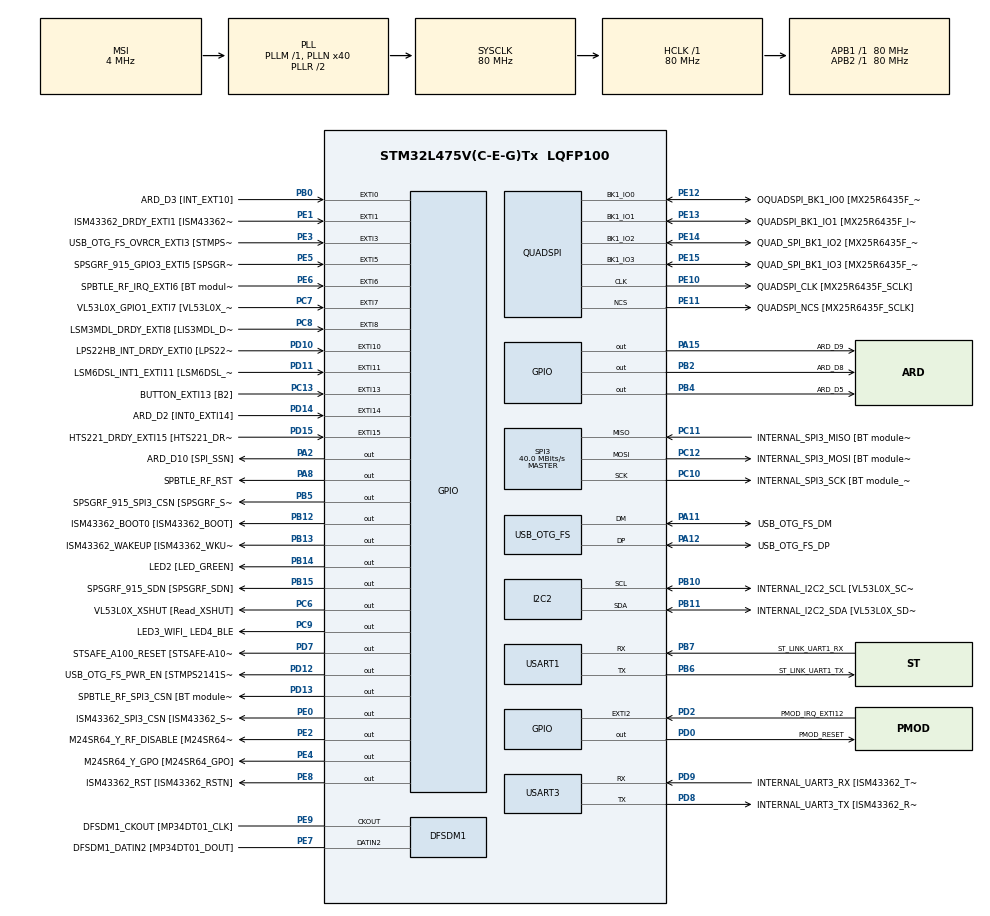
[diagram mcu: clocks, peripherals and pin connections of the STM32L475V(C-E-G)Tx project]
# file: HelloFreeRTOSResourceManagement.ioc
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FREERTOS.Mutexes01=myMutex01,Dynamic,NULL
FREERTOS.Tasks01=defaultTask,0,128,StartDefaultTask,Default,NULL,Dynamic,NULL,NULL;myTask02,-3,128,StartTask02,Default,NULL,Dynamic,NULL,NULL
Mcu.Family=STM32L4
Mcu.Name=STM32L475V(C-E-G)Tx
Mcu.Package=LQFP100
NVIC.EXTI15_10_IRQn=true\:5\:0\:false\:false\:true\:true\:true\:true
NVIC.EXTI9_5_IRQn=true\:5\:0\:false\:false\:true\:true\:true\:true
NVIC.PriorityGroup=NVIC_PRIORITYGROUP_4
NVIC.TIM1_UP_TIM16_IRQn=true\:15\:0\:false\:false\:true\:false\:false\:true
NVIC.TimeBase=TIM1_UP_TIM16_IRQn
NVIC.TimeBaseIP=TIM1
PA0.GPIO_Label=ARD_D1 [UART4_TX]
PA0.Signal=UART4_TX
PA1.GPIO_Label=ARD_D0 [UART4_RX]
PA1.Signal=UART4_RX
PA10.GPIO_Label=USB_OTG_FS_ID
PA10.Signal=USB_OTG_FS_ID
PA11.GPIO_Label=USB_OTG_FS_DM
PA11.Mode=Device_Only
PA11.Signal=USB_OTG_FS_DM
PA12.GPIO_Label=USB_OTG_FS_DP
PA12.Mode=Device_Only
PA12.Signal=USB_OTG_FS_DP
PA13\ (JTMS-SWDIO).GPIO_Label=SYS_JTMS_SWDIO
PA13\ (JTMS-SWDIO).Mode=Serial_Wire
PA13\ (JTMS-SWDIO).Signal=SYS_JTMS-SWDIO
PA14\ (JTCK-SWCLK).GPIO_Label=SYS_JTCK_SWCLK
PA14\ (JTCK-SWCLK).Mode=Serial_Wire
PA14\ (JTCK-SWCLK).Signal=SYS_JTCK-SWCLK
PA15\ (JTDI).GPIO_Label=ARD_D9
PA15\ (JTDI).Signal=GPIO_Output
PA2.GPIO_Label=ARD_D10 [SPI_SSN]
PA2.Signal=GPIO_Output
PA3.GPIO_Label=ARD_D4
PA3.Signal=S_TIM2_CH4
PA4.GPIO_Label=ARD_D7
PA4.Signal=ADCx_IN9
PA5.GPIO_Label=ARD_D13 [SPI1_SCK]
PA5.Signal=SPI1_SCK
PA6.GPIO_Label=ARD_D12 [SPI1_MISO]
PA6.Signal=SPI1_MISO
PA7.GPIO_Label=ARD_D11 [SPI1_MOSI]
PA7.Signal=SPI1_MOSI
PA8.GPIO_Label=SPBTLE_RF_RST
PA8.Signal=GPIO_Output
PA9.GPIO_Label=USB_OTG_FS_VBUS [STMPS2141STR_OUT]
PA9.Signal=USB_OTG_FS_VBUS
PB0.GPIO_Label=ARD_D3 [INT_EXT10]
PB0.Signal=GPXTI0
PB1.GPIO_Label=ARD_D6 [ADC1_IN6]
PB1.Signal=ADCx_IN16
PB10.GPIO_Label=INTERNAL_I2C2_SCL [VL53L0X_SCL]
PB10.GPIO_Pu=GPIO_PULLUP
PB10.Mode=I2C
PB10.Signal=I2C2_SCL
PB11.GPIO_Label=INTERNAL_I2C2_SDA [VL53L0X_SDA]
PB11.GPIO_Pu=GPIO_PULLUP
PB11.Mode=I2C
PB11.Signal=I2C2_SDA
PB12.GPIO_Label=ISM43362_BOOT0 [ISM43362_BOOT]
PB12.Signal=GPIO_Output
PB13.GPIO_Label=ISM43362_WAKEUP [ISM43362_WKUP]
PB13.Signal=GPIO_Output
PB14.GPIO_Label=LED2 [LED_GREEN]
PB14.Signal=GPIO_Output
PB15.GPIO_Label=SPSGRF_915_SDN [SPSGRF_SDN]
PB15.Signal=GPIO_Output
PB2.GPIO_Label=ARD_D8
PB2.Signal=GPIO_Output
PB3\ (JTDO-TRACESWO).GPIO_Label=SYS_JTD0_SWO
PB3\ (JTDO-TRACESWO).Signal=SYS_JTDO-SWO
PB4\ (NJTRST).GPIO_Label=ARD_D5
PB4\ (NJTRST).Signal=GPIO_Output
PB5.GPIO_Label=SPSGRF_915_SPI3_CSN [SPSGRF_SPI_CS]
PB5.PinState=GPIO_PIN_SET
PB5.Signal=GPIO_Output
PB6.GPIO_Label=ST_LINK_UART1_TX
PB6.Mode=Asynchronous
PB6.Signal=USART1_TX
PB7.GPIO_Label=ST_LINK_UART1_RX
PB7.Mode=Asynchronous
PB7.Signal=USART1_RX
PB8.GPIO_Label=ARD_D15 [I2C1_SCL]
PB8.Signal=I2C1_SCL
PB9.GPIO_Label=ARD_D14 [I2C1_SDA]
PB9.Signal=I2C1_SDA
PC0.GPIO_Label=ARD_A5 [ADC]
PC0.Signal=ADCx_IN1
PC1.GPIO_Label=ARD_A4 [ADC]
PC1.Signal=ADCx_IN2
PC10.GPIO_Label=INTERNAL_SPI3_SCK [BT module_SPI_SCLK] [ISM43362_SCK]
PC10.Mode=Full_Duplex_Master
PC10.Signal=SPI3_SCK
PC11.GPIO_Label=INTERNAL_SPI3_MISO [BT module_SPI_MISO] [ISM43362_MISO]
PC11.Mode=Full_Duplex_Master
PC11.Signal=SPI3_MISO
PC12.GPIO_Label=INTERNAL_SPI3_MOSI [BT module_SPI_MOSI] [ISM43362_MOSI]
PC12.Mode=Full_Duplex_Master
PC12.Signal=SPI3_MOSI
PC13.GPIO_Label=BUTTON_EXTI13 [B2]
PC13.GPIO_ModeDefaultEXTI=GPIO_MODE_IT_FALLING
PC13.Signal=GPXTI13
PC14-OSC32_IN\ (PC14).Mode=LSE-External-Oscillator
PC14-OSC32_IN\ (PC14).Signal=RCC_OSC32_IN
PC15-OSC32_OUT\ (PC15).Mode=LSE-External-Oscillator
PC15-OSC32_OUT\ (PC15).Signal=RCC_OSC32_OUT
PC2.GPIO_Label=ARD_A3 [ADC]
PC2.Signal=ADCx_IN3
PC3.GPIO_Label=ARD_A2 [ADC]
PC3.Signal=ADCx_IN4
PC4.GPIO_Label=ARD_A1 [ADC]
PC4.Signal=ADCx_IN13
PC5.GPIO_Label=ARD_A0 [ADC]
PC5.Signal=ADCx_IN14
PC6.GPIO_Label=VL53L0X_XSHUT [Read_XSHUT]
PC6.Signal=GPIO_Output
PC7.GPIO_Label=VL53L0X_GPIO1_EXTI7 [VL53L0X_GPIO1]
PC7.Signal=GPXTI7
PC8.GPIO_Label=LSM3MDL_DRDY_EXTI8 [LIS3MDL_DRDY]
PC8.Signal=GPXTI8
PC9.GPIO_Label=LED3_WIFI_ LED4_BLE
PC9.Signal=GPIO_Output
PD0.GPIO_Label=PMOD_RESET
PD0.Signal=GPIO_Output
PD1.GPIO_Label=PMOD_SPI2_SCK
PD1.Signal=SPI2_SCK
PD10.GPIO_Label=LPS22HB_INT_DRDY_EXTI0 [LPS22HB_INT_DRDY] 
PD10.Signal=GPXTI10
PD11.GPIO_Label=LSM6DSL_INT1_EXTI11 [LSM6DSL_INT1]
PD11.Signal=GPXTI11
PD12.GPIO_Label=USB_OTG_FS_PWR_EN [STMPS2141STR_EN]
PD12.Signal=GPIO_Output
PD13.GPIO_Label=SPBTLE_RF_SPI3_CSN [BT module_SPI_CS]
PD13.PinState=GPIO_PIN_SET
PD13.Signal=GPIO_Output
PD14.GPIO_Label=ARD_D2 [INT0_EXTI14]
PD14.Signal=GPXTI14
PD15.GPIO_Label=HTS221_DRDY_EXTI15 [HTS221_DRDY]
PD15.Signal=GPXTI15
PD2.GPIO_Label=PMOD_IRQ_EXTI12
PD2.Signal=GPXTI2
PD3.GPIO_Label=PMOD_UART2_CTS
PD3.Signal=USART2_CTS
PD4.GPIO_Label=PMOD_UART2_RTS
PD4.Signal=USART2_RTS
PD5.GPIO_Label=PMOD_UART2_TX
PD5.Signal=USART2_TX
PD6.GPIO_Label=PMOD_UART2_RX
PD6.Signal=USART2_RX
PD7.GPIO_Label=STSAFE_A100_RESET [STSAFE-A100_RESET]
PD7.Signal=GPIO_Output
PD8.GPIO_Label=INTERNAL_UART3_TX [ISM43362_RX]
PD8.Mode=Asynchronous
PD8.Signal=USART3_TX
PD9.GPIO_Label=INTERNAL_UART3_RX [ISM43362_TX]
PD9.Mode=Asynchronous
PD9.Signal=USART3_RX
PE0.GPIO_Label=ISM43362_SPI3_CSN [ISM43362_SSN]
PE0.PinState=GPIO_PIN_SET
PE0.Signal=GPIO_Output
PE1.GPIO_Label=ISM43362_DRDY_EXTI1 [ISM43362_DATARDY]
PE1.Signal=GPXTI1
PE10.GPIO_Label=QUADSPI_CLK [MX25R6435F_SCLK]
PE10.Mode=Single Bank
PE10.Signal=QUADSPI_CLK
PE11.GPIO_Label=QUADSPI_NCS [MX25R6435F_SCLK]
PE11.Mode=Single Bank
PE11.Signal=QUADSPI_NCS
PE12.GPIO_Label=OQUADSPI_BK1_IO0 [MX25R6435F_IO0]
PE12.Mode=Single Bank
PE12.Signal=QUADSPI_BK1_IO0
PE13.GPIO_Label=QUADSPI_BK1_IO1 [MX25R6435F_IO1]
PE13.Mode=Single Bank
PE13.Signal=QUADSPI_BK1_IO1
PE14.GPIO_Label=QUAD_SPI_BK1_IO2 [MX25R6435F_IO2]
PE14.Mode=Single Bank
PE14.Signal=QUADSPI_BK1_IO2
PE15.GPIO_Label=QUAD_SPI_BK1_IO3 [MX25R6435F_IO3]
PE15.Mode=Single Bank
PE15.Signal=QUADSPI_BK1_IO3
PE2.GPIO_Label=M24SR64_Y_RF_DISABLE [M24SR64_RFDIS]
PE2.Signal=GPIO_Output
PE3.GPIO_Label=USB_OTG_FS_OVRCR_EXTI3 [STMPS2141STR_FAULT]
PE3.Signal=GPXTI3
PE4.GPIO_Label=M24SR64_Y_GPO [M24SR64_GPO]
PE4.Signal=GPIO_Output
PE5.GPIO_Label=SPSGRF_915_GPIO3_EXTI5 [SPSGRF_GPIO_3]
PE5.Signal=GPXTI5
PE6.GPIO_Label=SPBTLE_RF_IRQ_EXTI6 [BT module_SPI_IRQ]
PE6.Signal=GPXTI6
PE7.GPIO_Label=DFSDM1_DATIN2 [MP34DT01_DOUT]
PE7.Signal=S_DATAIN2DFSDM1
PE8.GPIO_Label=ISM43362_RST [ISM43362_RSTN]
PE8.Signal=GPIO_Output
PE9.GPIO_Label=DFSDM1_CKOUT [MP34DT01_CLK]
PE9.Signal=S_CKOUTDFSDM1
ProjectManager.HeapSize=0x200
ProjectManager.StackSize=0x400
ProjectManager.TargetToolchain=STM32CubeIDE
QUADSPI.ClockPrescaler=2
QUADSPI.FifoThreshold=4
QUADSPI.FlashSize=23
QUADSPI.SampleShifting=QSPI_SAMPLE_SHIFTING_HALFCYCLE
RCC.ADCFreq_Value=48000000
RCC.AHBFreq_Value=80000000
RCC.APB1Freq_Value=80000000
RCC.APB1TimFreq_Value=80000000
RCC.APB2Freq_Value=80000000
RCC.APB2TimFreq_Value=80000000
RCC.CortexFreq_Value=80000000
RCC.HCLKFreq_Value=80000000
RCC.HSE_VALUE=8000000
RCC.HSI_VALUE=16000000
RCC.MSI_VALUE=4000000
RCC.PLLN=40
RCC.PLLSAI1N=24
RCC.SYSCLKFreq_VALUE=80000000
RCC.SYSCLKSource=RCC_SYSCLKSOURCE_PLLCLK
RCC.USBFreq_Value=48000000
RCC.VCOOutputFreq_Value=160000000
SH.ADCx_IN1.0=ADC1_IN1
SH.ADCx_IN13.0=ADC1_IN13
SH.ADCx_IN14.0=ADC1_IN14
SH.ADCx_IN16.0=ADC1_IN16
SH.ADCx_IN2.0=ADC1_IN2
SH.ADCx_IN3.0=ADC1_IN3
SH.ADCx_IN4.0=ADC1_IN4
SH.ADCx_IN9.0=ADC1_IN9
SH.S_CKOUTDFSDM1.0=DFSDM1_CKOUT,CKOUT
SH.S_CKOUTDFSDM1.1=DFSDM1_CKOUT,PDM_SPI_Input_from_ch12_and_Internal_Clock
SH.S_DATAIN2DFSDM1.0=DFSDM1_DATIN2,PDM_SPI_Input_from_ch12_and_Internal_Clock
SH.S_TIM2_CH4.0=TIM2_CH4
SPI3.CalculateBaudRate=40.0 MBits/s
SPI3.Direction=SPI_DIRECTION_2LINES
SPI3.Mode=SPI_MODE_MASTER
SPI3.VirtualType=VM_MASTER
USART1.VirtualMode-Asynchronous=VM_ASYNC
USART3.VirtualMode-Asynchronous=VM_ASYNC
USB_OTG_FS.VirtualMode=Device_Only
VP_FREERTOS_VS_CMSIS_V1.Mode=CMSIS_V1
VP_SYS_VS_tim1.Mode=TIM1
board=B-L475E-IOT01A1

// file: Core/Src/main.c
/* USER CODE BEGIN Header */
/**
 ******************************************************************************
 * @file           : main.c
 * @brief          : Main program body
 ******************************************************************************
 * @attention
 *
 * <h2><center>&copy; Copyright (c) 2021 STMicroelectronics.
 * All rights reserved.</center></h2>
 *
 * This software component is licensed by ST under BSD 3-Clause license,
 * the "License"; You may not use this file except in compliance with the
 * License. You may obtain a copy of the License at:
 *                        opensource.org/licenses/BSD-3-Clause
 *
 ******************************************************************************
 */
/* USER CODE END Header */
#include "main.h"
#include "cmsis_os.h"

DFSDM_Channel_HandleTypeDef hdfsdm1_channel1;

I2C_HandleTypeDef hi2c2;

QSPI_HandleTypeDef hqspi;

SPI_HandleTypeDef hspi3;

UART_HandleTypeDef huart1;
UART_HandleTypeDef huart3;

PCD_HandleTypeDef hpcd_USB_OTG_FS;

osThreadId defaultTaskHandle;
osThreadId myTask02Handle;
osMutexId myMutex01Handle;
/* USER CODE BEGIN PV */

int count = 0;

/* USER CODE END PV */

void SystemClock_Config(void);
static void MX_GPIO_Init(void);
static void MX_DFSDM1_Init(void);
static void MX_I2C2_Init(void);
static void MX_QUADSPI_Init(void);
static void MX_SPI3_Init(void);
static void MX_USART1_UART_Init(void);
static void MX_USART3_UART_Init(void);
static void MX_USB_OTG_FS_PCD_Init(void);
void StartDefaultTask(void const *argument);
void StartTask02(void const *argument);

int main(void) {

    /* MCU Configuration--------------------------------------------------------*/

    /* Reset of all peripherals, Initializes the Flash interface and the Systick. */
    HAL_Init();

    /* Configure the system clock */
    SystemClock_Config();

    /* Initialize all configured peripherals */
    MX_GPIO_Init();
    MX_DFSDM1_Init();
    MX_I2C2_Init();
    MX_QUADSPI_Init();
    MX_SPI3_Init();
    MX_USART1_UART_Init();
    MX_USART3_UART_Init();
    MX_USB_OTG_FS_PCD_Init();

    /* Create the mutex(es) */
    /* definition and creation of myMutex01 */
    osMutexDef(myMutex01);
    myMutex01Handle = osMutexCreate(osMutex(myMutex01));

    /* Create the thread(s) */
    /* definition and creation of defaultTask */
    osThreadDef(defaultTask, StartDefaultTask, osPriorityNormal, 0, 128);
    defaultTaskHandle = osThreadCreate(osThread(defaultTask), NULL);

    /* definition and creation of myTask02 */
    osThreadDef(myTask02, StartTask02, osPriorityIdle, 0, 128);
    myTask02Handle = osThreadCreate(osThread(myTask02), NULL);

    /* Start scheduler */
    osKernelStart();

    /* We should never get here as control is now taken by the scheduler */
    /* Infinite loop */
    while (1) {

    }
}

void SystemClock_Config(void) {
    RCC_OscInitTypeDef RCC_OscInitStruct = { 0 };
    RCC_ClkInitTypeDef RCC_ClkInitStruct = { 0 };

    /** Configure the main internal regulator output voltage
     */
    if (HAL_PWREx_ControlVoltageScaling(PWR_REGULATOR_VOLTAGE_SCALE1) != HAL_OK) {
        Error_Handler();
    }
    /** Configure LSE Drive Capability
     */
    HAL_PWR_EnableBkUpAccess();
    __HAL_RCC_LSEDRIVE_CONFIG(RCC_LSEDRIVE_LOW);
    /** Initializes the RCC Oscillators according to the specified parameters
     * in the RCC_OscInitTypeDef structure.
     */
    RCC_OscInitStruct.OscillatorType = RCC_OSCILLATORTYPE_LSE | RCC_OSCILLATORTYPE_MSI;
    RCC_OscInitStruct.LSEState = RCC_LSE_ON;
    RCC_OscInitStruct.MSIState = RCC_MSI_ON;
    RCC_OscInitStruct.MSICalibrationValue = 0;
    RCC_OscInitStruct.MSIClockRange = RCC_MSIRANGE_6;
    RCC_OscInitStruct.PLL.PLLState = RCC_PLL_ON;
    RCC_OscInitStruct.PLL.PLLSource = RCC_PLLSOURCE_MSI;
    RCC_OscInitStruct.PLL.PLLM = 1;
    RCC_OscInitStruct.PLL.PLLN = 40;
    RCC_OscInitStruct.PLL.PLLP = RCC_PLLP_DIV7;
    RCC_OscInitStruct.PLL.PLLQ = RCC_PLLQ_DIV2;
    RCC_OscInitStruct.PLL.PLLR = RCC_PLLR_DIV2;
    if (HAL_RCC_OscConfig(&RCC_OscInitStruct) != HAL_OK) {
        Error_Handler();
    }
    /** Initializes the CPU, AHB and APB buses clocks
     */
    RCC_ClkInitStruct.ClockType = RCC_CLOCKTYPE_HCLK | RCC_CLOCKTYPE_SYSCLK | RCC_CLOCKTYPE_PCLK1 | RCC_CLOCKTYPE_PCLK2;
    RCC_ClkInitStruct.SYSCLKSource = RCC_SYSCLKSOURCE_PLLCLK;
    RCC_ClkInitStruct.AHBCLKDivider = RCC_SYSCLK_DIV1;
    RCC_ClkInitStruct.APB1CLKDivider = RCC_HCLK_DIV1;
    RCC_ClkInitStruct.APB2CLKDivider = RCC_HCLK_DIV1;

    if (HAL_RCC_ClockConfig(&RCC_ClkInitStruct, FLASH_LATENCY_4) != HAL_OK) {
        Error_Handler();
    }
    /** Enable MSI Auto calibration
     */
    HAL_RCCEx_EnableMSIPLLMode();
}

static void MX_DFSDM1_Init(void) {

    hdfsdm1_channel1.Instance = DFSDM1_Channel1;
    hdfsdm1_channel1.Init.OutputClock.Activation = ENABLE;
    hdfsdm1_channel1.Init.OutputClock.Selection = DFSDM_CHANNEL_OUTPUT_CLOCK_SYSTEM;
    hdfsdm1_channel1.Init.OutputClock.Divider = 2;
    hdfsdm1_channel1.Init.Input.Multiplexer = DFSDM_CHANNEL_EXTERNAL_INPUTS;
    hdfsdm1_channel1.Init.Input.DataPacking = DFSDM_CHANNEL_STANDARD_MODE;
    hdfsdm1_channel1.Init.Input.Pins = DFSDM_CHANNEL_FOLLOWING_CHANNEL_PINS;
    hdfsdm1_channel1.Init.SerialInterface.Type = DFSDM_CHANNEL_SPI_RISING;
    hdfsdm1_channel1.Init.SerialInterface.SpiClock = DFSDM_CHANNEL_SPI_CLOCK_INTERNAL;
    hdfsdm1_channel1.Init.Awd.FilterOrder = DFSDM_CHANNEL_FASTSINC_ORDER;
    hdfsdm1_channel1.Init.Awd.Oversampling = 1;
    hdfsdm1_channel1.Init.Offset = 0;
    hdfsdm1_channel1.Init.RightBitShift = 0x00;
    if (HAL_DFSDM_ChannelInit(&hdfsdm1_channel1) != HAL_OK) {
        Error_Handler();
    }

}

static void MX_I2C2_Init(void) {

    hi2c2.Instance = I2C2;
    hi2c2.Init.Timing = 0x00000E14;
    hi2c2.Init.OwnAddress1 = 0;
    hi2c2.Init.AddressingMode = I2C_ADDRESSINGMODE_7BIT;
    hi2c2.Init.DualAddressMode = I2C_DUALADDRESS_DISABLE;
    hi2c2.Init.OwnAddress2 = 0;
    hi2c2.Init.OwnAddress2Masks = I2C_OA2_NOMASK;
    hi2c2.Init.GeneralCallMode = I2C_GENERALCALL_DISABLE;
    hi2c2.Init.NoStretchMode = I2C_NOSTRETCH_DISABLE;
    if (HAL_I2C_Init(&hi2c2) != HAL_OK) {
        Error_Handler();
    }
    /** Configure Analogue filter
     */
    if (HAL_I2CEx_ConfigAnalogFilter(&hi2c2, I2C_ANALOGFILTER_ENABLE) != HAL_OK) {
        Error_Handler();
    }
    /** Configure Digital filter
     */
    if (HAL_I2CEx_ConfigDigitalFilter(&hi2c2, 0) != HAL_OK) {
        Error_Handler();
    }

}

static void MX_QUADSPI_Init(void) {

    /* QUADSPI parameter configuration*/
    hqspi.Instance = QUADSPI;
    hqspi.Init.ClockPrescaler = 2;
    hqspi.Init.FifoThreshold = 4;
    hqspi.Init.SampleShifting = QSPI_SAMPLE_SHIFTING_HALFCYCLE;
    hqspi.Init.FlashSize = 23;
    hqspi.Init.ChipSelectHighTime = QSPI_CS_HIGH_TIME_1_CYCLE;
    hqspi.Init.ClockMode = QSPI_CLOCK_MODE_0;
    if (HAL_QSPI_Init(&hqspi) != HAL_OK) {
        Error_Handler();
    }

}

static void MX_SPI3_Init(void) {

    /* SPI3 parameter configuration*/
    hspi3.Instance = SPI3;
    hspi3.Init.Mode = SPI_MODE_MASTER;
    hspi3.Init.Direction = SPI_DIRECTION_2LINES;
    hspi3.Init.DataSize = SPI_DATASIZE_4BIT;
    hspi3.Init.CLKPolarity = SPI_POLARITY_LOW;
    hspi3.Init.CLKPhase = SPI_PHASE_1EDGE;
    hspi3.Init.NSS = SPI_NSS_SOFT;
    hspi3.Init.BaudRatePrescaler = SPI_BAUDRATEPRESCALER_2;
    hspi3.Init.FirstBit = SPI_FIRSTBIT_MSB;
    hspi3.Init.TIMode = SPI_TIMODE_DISABLE;
    hspi3.Init.CRCCalculation = SPI_CRCCALCULATION_DISABLE;
    hspi3.Init.CRCPolynomial = 7;
    hspi3.Init.CRCLength = SPI_CRC_LENGTH_DATASIZE;
    hspi3.Init.NSSPMode = SPI_NSS_PULSE_ENABLE;
    if (HAL_SPI_Init(&hspi3) != HAL_OK) {
        Error_Handler();
    }

}

static void MX_USART1_UART_Init(void) {

    huart1.Instance = USART1;
    huart1.Init.BaudRate = 115200;
    huart1.Init.WordLength = UART_WORDLENGTH_8B;
    huart1.Init.StopBits = UART_STOPBITS_1;
    huart1.Init.Parity = UART_PARITY_NONE;
    huart1.Init.Mode = UART_MODE_TX_RX;
    huart1.Init.HwFlowCtl = UART_HWCONTROL_NONE;
    huart1.Init.OverSampling = UART_OVERSAMPLING_16;
    huart1.Init.OneBitSampling = UART_ONE_BIT_SAMPLE_DISABLE;
    huart1.AdvancedInit.AdvFeatureInit = UART_ADVFEATURE_NO_INIT;
    if (HAL_UART_Init(&huart1) != HAL_OK) {
        Error_Handler();
    }

}

static void MX_USART3_UART_Init(void) {

    huart3.Instance = USART3;
    huart3.Init.BaudRate = 115200;
    huart3.Init.WordLength = UART_WORDLENGTH_8B;
    huart3.Init.StopBits = UART_STOPBITS_1;
    huart3.Init.Parity = UART_PARITY_NONE;
    huart3.Init.Mode = UART_MODE_TX_RX;
    huart3.Init.HwFlowCtl = UART_HWCONTROL_NONE;
    huart3.Init.OverSampling = UART_OVERSAMPLING_16;
    huart3.Init.OneBitSampling = UART_ONE_BIT_SAMPLE_DISABLE;
    huart3.AdvancedInit.AdvFeatureInit = UART_ADVFEATURE_NO_INIT;
    if (HAL_UART_Init(&huart3) != HAL_OK) {
        Error_Handler();
    }

}

static void MX_USB_OTG_FS_PCD_Init(void) {

    hpcd_USB_OTG_FS.Instance = USB_OTG_FS;
    hpcd_USB_OTG_FS.Init.dev_endpoints = 6;
    hpcd_USB_OTG_FS.Init.speed = PCD_SPEED_FULL;
    hpcd_USB_OTG_FS.Init.phy_itface = PCD_PHY_EMBEDDED;
    hpcd_USB_OTG_FS.Init.Sof_enable = DISABLE;
    hpcd_USB_OTG_FS.Init.low_power_enable = DISABLE;
    hpcd_USB_OTG_FS.Init.lpm_enable = DISABLE;
    hpcd_USB_OTG_FS.Init.battery_charging_enable = DISABLE;
    hpcd_USB_OTG_FS.Init.use_dedicated_ep1 = DISABLE;
    hpcd_USB_OTG_FS.Init.vbus_sensing_enable = DISABLE;
    if (HAL_PCD_Init(&hpcd_USB_OTG_FS) != HAL_OK) {
        Error_Handler();
    }

}

static void MX_GPIO_Init(void) {
    GPIO_InitTypeDef GPIO_InitStruct = { 0 };

    /* GPIO Ports Clock Enable */
    __HAL_RCC_GPIOE_CLK_ENABLE();
    __HAL_RCC_GPIOC_CLK_ENABLE();
    __HAL_RCC_GPIOA_CLK_ENABLE();
    __HAL_RCC_GPIOB_CLK_ENABLE();
    __HAL_RCC_GPIOD_CLK_ENABLE();

    /*Configure GPIO pin Output Level */
    HAL_GPIO_WritePin(GPIOE, M24SR64_Y_RF_DISABLE_Pin | M24SR64_Y_GPO_Pin | ISM43362_RST_Pin, GPIO_PIN_RESET);

    /*Configure GPIO pin Output Level */
    HAL_GPIO_WritePin(GPIOA, ARD_D10_Pin | SPBTLE_RF_RST_Pin | ARD_D9_Pin, GPIO_PIN_RESET);

    /*Configure GPIO pin Output Level */
    HAL_GPIO_WritePin(GPIOB,
    ARD_D8_Pin | ISM43362_BOOT0_Pin | ISM43362_WAKEUP_Pin | LED2_Pin | SPSGRF_915_SDN_Pin | ARD_D5_Pin, GPIO_PIN_RESET);

    /*Configure GPIO pin Output Level */
    HAL_GPIO_WritePin(GPIOD, USB_OTG_FS_PWR_EN_Pin | PMOD_RESET_Pin | STSAFE_A100_RESET_Pin, GPIO_PIN_RESET);

    /*Configure GPIO pin Output Level */
    HAL_GPIO_WritePin(SPBTLE_RF_SPI3_CSN_GPIO_Port, SPBTLE_RF_SPI3_CSN_Pin, GPIO_PIN_SET);

    /*Configure GPIO pin Output Level */
    HAL_GPIO_WritePin(GPIOC, VL53L0X_XSHUT_Pin | LED3_WIFI__LED4_BLE_Pin, GPIO_PIN_RESET);

    /*Configure GPIO pin Output Level */
    HAL_GPIO_WritePin(SPSGRF_915_SPI3_CSN_GPIO_Port, SPSGRF_915_SPI3_CSN_Pin, GPIO_PIN_SET);

    /*Configure GPIO pin Output Level */
    HAL_GPIO_WritePin(ISM43362_SPI3_CSN_GPIO_Port, ISM43362_SPI3_CSN_Pin, GPIO_PIN_SET);

    /*Configure GPIO pins : M24SR64_Y_RF_DISABLE_Pin M24SR64_Y_GPO_Pin ISM43362_RST_Pin ISM43362_SPI3_CSN_Pin */
    GPIO_InitStruct.Pin = M24SR64_Y_RF_DISABLE_Pin | M24SR64_Y_GPO_Pin | ISM43362_RST_Pin | ISM43362_SPI3_CSN_Pin;
    GPIO_InitStruct.Mode = GPIO_MODE_OUTPUT_PP;
    GPIO_InitStruct.Pull = GPIO_NOPULL;
    GPIO_InitStruct.Speed = GPIO_SPEED_FREQ_LOW;
    HAL_GPIO_Init(GPIOE, &GPIO_InitStruct);

    /*Configure GPIO pins : USB_OTG_FS_OVRCR_EXTI3_Pin SPSGRF_915_GPIO3_EXTI5_Pin SPBTLE_RF_IRQ_EXTI6_Pin ISM43362_DRDY_EXTI1_Pin */
    GPIO_InitStruct.Pin = USB_OTG_FS_OVRCR_EXTI3_Pin | SPSGRF_915_GPIO3_EXTI5_Pin | SPBTLE_RF_IRQ_EXTI6_Pin
            | ISM43362_DRDY_EXTI1_Pin;
    GPIO_InitStruct.Mode = GPIO_MODE_IT_RISING;
    GPIO_InitStruct.Pull = GPIO_NOPULL;
    HAL_GPIO_Init(GPIOE, &GPIO_InitStruct);

    /*Configure GPIO pin : BUTTON_EXTI13_Pin */
    GPIO_InitStruct.Pin = BUTTON_EXTI13_Pin;
    GPIO_InitStruct.Mode = GPIO_MODE_IT_FALLING;
    GPIO_InitStruct.Pull = GPIO_NOPULL;
    HAL_GPIO_Init(BUTTON_EXTI13_GPIO_Port, &GPIO_InitStruct);

    /*Configure GPIO pins : ARD_A5_Pin ARD_A4_Pin ARD_A3_Pin ARD_A2_Pin
     ARD_A1_Pin ARD_A0_Pin */
    GPIO_InitStruct.Pin = ARD_A5_Pin | ARD_A4_Pin | ARD_A3_Pin | ARD_A2_Pin | ARD_A1_Pin | ARD_A0_Pin;
    GPIO_InitStruct.Mode = GPIO_MODE_ANALOG_ADC_CONTROL;
    GPIO_InitStruct.Pull = GPIO_NOPULL;
    HAL_GPIO_Init(GPIOC, &GPIO_InitStruct);

    /*Configure GPIO pins : ARD_D1_Pin ARD_D0_Pin */
    GPIO_InitStruct.Pin = ARD_D1_Pin | ARD_D0_Pin;
    GPIO_InitStruct.Mode = GPIO_MODE_AF_PP;
    GPIO_InitStruct.Pull = GPIO_NOPULL;
    GPIO_InitStruct.Speed = GPIO_SPEED_FREQ_VERY_HIGH;
    GPIO_InitStruct.Alternate = GPIO_AF8_UART4;
    HAL_GPIO_Init(GPIOA, &GPIO_InitStruct);

    /*Configure GPIO pins : ARD_D10_Pin SPBTLE_RF_RST_Pin ARD_D9_Pin */
    GPIO_InitStruct.Pin = ARD_D10_Pin | SPBTLE_RF_RST_Pin | ARD_D9_Pin;
    GPIO_InitStruct.Mode = GPIO_MODE_OUTPUT_PP;
    GPIO_InitStruct.Pull = GPIO_NOPULL;
    GPIO_InitStruct.Speed = GPIO_SPEED_FREQ_LOW;
    HAL_GPIO_Init(GPIOA, &GPIO_InitStruct);

    /*Configure GPIO pin : ARD_D4_Pin */
    GPIO_InitStruct.Pin = ARD_D4_Pin;
    GPIO_InitStruct.Mode = GPIO_MODE_AF_PP;
    GPIO_InitStruct.Pull = GPIO_NOPULL;
    GPIO_InitStruct.Speed = GPIO_SPEED_FREQ_LOW;
    GPIO_InitStruct.Alternate = GPIO_AF1_TIM2;
    HAL_GPIO_Init(ARD_D4_GPIO_Port, &GPIO_InitStruct);

    /*Configure GPIO pin : ARD_D7_Pin */
    GPIO_InitStruct.Pin = ARD_D7_Pin;
    GPIO_InitStruct.Mode = GPIO_MODE_ANALOG_ADC_CONTROL;
    GPIO_InitStruct.Pull = GPIO_NOPULL;
    HAL_GPIO_Init(ARD_D7_GPIO_Port, &GPIO_InitStruct);

    /*Configure GPIO pins : ARD_D13_Pin ARD_D12_Pin ARD_D11_Pin */
    GPIO_InitStruct.Pin = ARD_D13_Pin | ARD_D12_Pin | ARD_D11_Pin;
    GPIO_InitStruct.Mode = GPIO_MODE_AF_PP;
    GPIO_InitStruct.Pull = GPIO_NOPULL;
    GPIO_InitStruct.Speed = GPIO_SPEED_FREQ_VERY_HIGH;
    GPIO_InitStruct.Alternate = GPIO_AF5_SPI1;
    HAL_GPIO_Init(GPIOA, &GPIO_InitStruct);

    /*Configure GPIO pin : ARD_D3_Pin */
    GPIO_InitStruct.Pin = ARD_D3_Pin;
    GPIO_InitStruct.Mode = GPIO_MODE_IT_RISING;
    GPIO_InitStruct.Pull = GPIO_NOPULL;
    HAL_GPIO_Init(ARD_D3_GPIO_Port, &GPIO_InitStruct);

    /*Configure GPIO pin : ARD_D6_Pin */
    GPIO_InitStruct.Pin = ARD_D6_Pin;
    GPIO_InitStruct.Mode = GPIO_MODE_ANALOG_ADC_CONTROL;
    GPIO_InitStruct.Pull = GPIO_NOPULL;
    HAL_GPIO_Init(ARD_D6_GPIO_Port, &GPIO_InitStruct);

    /*Configure GPIO pins : ARD_D8_Pin ISM43362_BOOT0_Pin ISM43362_WAKEUP_Pin LED2_Pin
     SPSGRF_915_SDN_Pin ARD_D5_Pin SPSGRF_915_SPI3_CSN_Pin */
    GPIO_InitStruct.Pin = ARD_D8_Pin | ISM43362_BOOT0_Pin | ISM43362_WAKEUP_Pin | LED2_Pin | SPSGRF_915_SDN_Pin
            | ARD_D5_Pin | SPSGRF_915_SPI3_CSN_Pin;
    GPIO_InitStruct.Mode = GPIO_MODE_OUTPUT_PP;
    GPIO_InitStruct.Pull = GPIO_NOPULL;
    GPIO_InitStruct.Speed = GPIO_SPEED_FREQ_LOW;
    HAL_GPIO_Init(GPIOB, &GPIO_InitStruct);

    /*Configure GPIO pins : LPS22HB_INT_DRDY_EXTI0_Pin LSM6DSL_INT1_EXTI11_Pin ARD_D2_Pin HTS221_DRDY_EXTI15_Pin
     PMOD_IRQ_EXTI12_Pin */
    GPIO_InitStruct.Pin = LPS22HB_INT_DRDY_EXTI0_Pin | LSM6DSL_INT1_EXTI11_Pin | ARD_D2_Pin | HTS221_DRDY_EXTI15_Pin
            | PMOD_IRQ_EXTI12_Pin;
    GPIO_InitStruct.Mode = GPIO_MODE_IT_RISING;
    GPIO_InitStruct.Pull = GPIO_NOPULL;
    HAL_GPIO_Init(GPIOD, &GPIO_InitStruct);

    /*Configure GPIO pins : USB_OTG_FS_PWR_EN_Pin SPBTLE_RF_SPI3_CSN_Pin PMOD_RESET_Pin STSAFE_A100_RESET_Pin */
    GPIO_InitStruct.Pin = USB_OTG_FS_PWR_EN_Pin | SPBTLE_RF_SPI3_CSN_Pin | PMOD_RESET_Pin | STSAFE_A100_RESET_Pin;
    GPIO_InitStruct.Mode = GPIO_MODE_OUTPUT_PP;
    GPIO_InitStruct.Pull = GPIO_NOPULL;
    GPIO_InitStruct.Speed = GPIO_SPEED_FREQ_LOW;
    HAL_GPIO_Init(GPIOD, &GPIO_InitStruct);

    /*Configure GPIO pins : VL53L0X_XSHUT_Pin LED3_WIFI__LED4_BLE_Pin */
    GPIO_InitStruct.Pin = VL53L0X_XSHUT_Pin | LED3_WIFI__LED4_BLE_Pin;
    GPIO_InitStruct.Mode = GPIO_MODE_OUTPUT_PP;
    GPIO_InitStruct.Pull = GPIO_NOPULL;
    GPIO_InitStruct.Speed = GPIO_SPEED_FREQ_LOW;
    HAL_GPIO_Init(GPIOC, &GPIO_InitStruct);

    /*Configure GPIO pins : VL53L0X_GPIO1_EXTI7_Pin LSM3MDL_DRDY_EXTI8_Pin */
    GPIO_InitStruct.Pin = VL53L0X_GPIO1_EXTI7_Pin | LSM3MDL_DRDY_EXTI8_Pin;
    GPIO_InitStruct.Mode = GPIO_MODE_IT_RISING;
    GPIO_InitStruct.Pull = GPIO_NOPULL;
    HAL_GPIO_Init(GPIOC, &GPIO_InitStruct);

    /*Configure GPIO pin : PMOD_SPI2_SCK_Pin */
    GPIO_InitStruct.Pin = PMOD_SPI2_SCK_Pin;
    GPIO_InitStruct.Mode = GPIO_MODE_AF_PP;
    GPIO_InitStruct.Pull = GPIO_NOPULL;
    GPIO_InitStruct.Speed = GPIO_SPEED_FREQ_VERY_HIGH;
    GPIO_InitStruct.Alternate = GPIO_AF5_SPI2;
    HAL_GPIO_Init(PMOD_SPI2_SCK_GPIO_Port, &GPIO_InitStruct);

    /*Configure GPIO pins : PMOD_UART2_CTS_Pin PMOD_UART2_RTS_Pin PMOD_UART2_TX_Pin PMOD_UART2_RX_Pin */
    GPIO_InitStruct.Pin = PMOD_UART2_CTS_Pin | PMOD_UART2_RTS_Pin | PMOD_UART2_TX_Pin | PMOD_UART2_RX_Pin;
    GPIO_InitStruct.Mode = GPIO_MODE_AF_PP;
    GPIO_InitStruct.Pull = GPIO_NOPULL;
    GPIO_InitStruct.Speed = GPIO_SPEED_FREQ_VERY_HIGH;
    GPIO_InitStruct.Alternate = GPIO_AF7_USART2;
    HAL_GPIO_Init(GPIOD, &GPIO_InitStruct);

    /*Configure GPIO pins : ARD_D15_Pin ARD_D14_Pin */
    GPIO_InitStruct.Pin = ARD_D15_Pin | ARD_D14_Pin;
    GPIO_InitStruct.Mode = GPIO_MODE_AF_OD;
    GPIO_InitStruct.Pull = GPIO_NOPULL;
    GPIO_InitStruct.Speed = GPIO_SPEED_FREQ_VERY_HIGH;
    GPIO_InitStruct.Alternate = GPIO_AF4_I2C1;
    HAL_GPIO_Init(GPIOB, &GPIO_InitStruct);

    /* EXTI interrupt init*/
    HAL_NVIC_SetPriority(EXTI9_5_IRQn, 5, 0);
    HAL_NVIC_EnableIRQ(EXTI9_5_IRQn);

    HAL_NVIC_SetPriority(EXTI15_10_IRQn, 5, 0);
    HAL_NVIC_EnableIRQ(EXTI15_10_IRQn);

}

/* USER CODE BEGIN 4 */
/**
 * @brief  EXTI line detection callback.
 * @param  GPIO_Pin Specifies the port pin connected to corresponding EXTI line.
 * @retval None
 */
void HAL_GPIO_EXTI_Callback(uint16_t GPIO_Pin) {
    int ret = taskENTER_CRITICAL_FROM_ISR();
    count++;
    taskEXIT_CRITICAL_FROM_ISR(ret);
}
/* USER CODE END 4 */

void StartDefaultTask(void const *argument) {
    /* USER CODE BEGIN 5 */
    /* Infinite loop */
    for (;;) {
        osDelay(5000);

        int flashCount = 0;
        taskENTER_CRITICAL();
        flashCount = count;

        // if count is 0 then do nothing
        if (count == 0) {
            taskEXIT_CRITICAL();
            continue;
        }

        count = 0;
        taskEXIT_CRITICAL();

        // take mutex
        xSemaphoreTake(myMutex01Handle, portMAX_DELAY);

        // flash led flash count times
        while (flashCount != 0) {
            flashCount--;
            vTaskDelay(pdMS_TO_TICKS(500));
            HAL_GPIO_TogglePin(LED2_GPIO_Port, LED2_Pin);
        }

        // make sure we always end with off
        HAL_GPIO_WritePin(LED2_GPIO_Port, LED2_Pin, 0);

        // release mutex
        xSemaphoreGive(myMutex01Handle);

    }
    /* USER CODE END 5 */
}

void StartTask02(void const *argument) {
    /* USER CODE BEGIN StartTask02 */
    /* Infinite loop */
    for (;;) {
        osDelay(5000);

        int flashCount = 0;
        taskENTER_CRITICAL();
        flashCount = count;

        // if count is 0 then do nothing
        if (count == 0) {
            taskEXIT_CRITICAL();
            continue;
        }

        count = 0;
        taskEXIT_CRITICAL();

        // take mutex
        xSemaphoreTake(myMutex01Handle, portMAX_DELAY);

        // flash led flash count times
        while (flashCount != 0) {
            flashCount--;
            vTaskDelay(pdMS_TO_TICKS(1000));
            HAL_GPIO_TogglePin(LED2_GPIO_Port, LED2_Pin);
        }

        // make sure we always end with off
        HAL_GPIO_WritePin(LED2_GPIO_Port, LED2_Pin, 0);

        // release mutex
        xSemaphoreGive(myMutex01Handle);
    }
    /* USER CODE END StartTask02 */
}

void HAL_TIM_PeriodElapsedCallback(TIM_HandleTypeDef *htim) {
    if (htim->Instance == TIM1) {
        HAL_IncTick();
    }
}

void Error_Handler(void) {
    __disable_irq();
    while (1) {
    }
}

/************************ (C) COPYRIGHT STMicroelectronics *****END OF FILE****/
